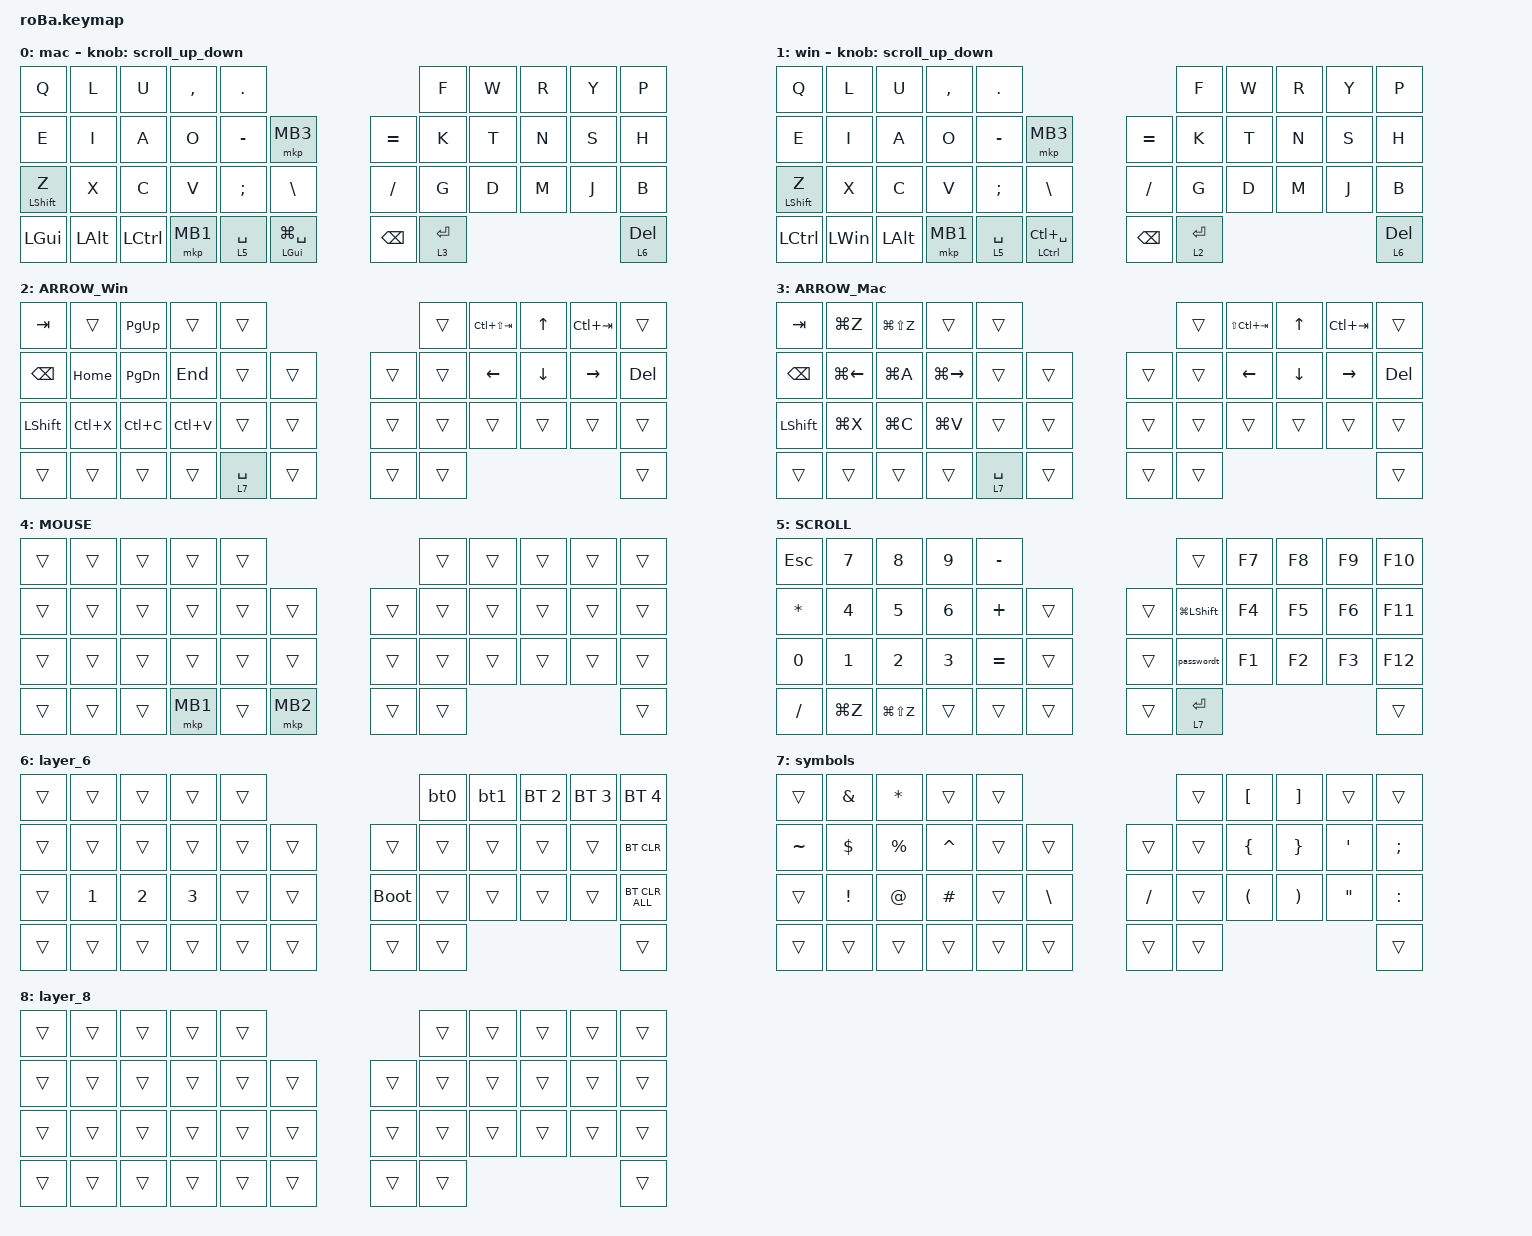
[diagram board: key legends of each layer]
#include <behaviors.dtsi>
#include <dt-bindings/zmk/bt.h>
#include <dt-bindings/zmk/keys.h>
#include <dt-bindings/zmk/pointing.h>

#define MOUSE 4
#define SCROLL 5
#define NUM 6
#define ZMK_POINTING_DEFAULT_SCRL_VAL 100

&mt {
    flavor = "balanced";
    quick-tap-ms = <0>;
};

/ {
    combos {
        compatible = "zmk,combos";

        tab {
            bindings = <&kp TAB>;
            key-positions = <11 12>;
        };

        shift_tab {
            bindings = <&kp LS(TAB)>;
            key-positions = <12 13>;
        };

        muhennkann {
            bindings = <&bt0 INT_MUHENKAN>;
            key-positions = <11 10>;
        };

        double_quotation {
            bindings = <&kp DOUBLE_QUOTES>;
            key-positions = <20 21>;
        };

        eq {
            bindings = <&kp EQUAL>;
            key-positions = <24 25>;
        };
    };

    macros {
        bt0: to_layer_0 {
            compatible = "zmk,behavior-macro";
            #binding-cells = <0>;
            bindings =
                <&tog_off 1 &tog_off 0>,
                <&macro_wait_time 200>,
                <&bt BT_SEL 0>,
                <&macro_wait_time 500>;

            label = "TO_LAYER_0";
        };

        bt1: new_macro {
            compatible = "zmk,behavior-macro";
            #binding-cells = <0>;
            bindings =
                <&tog_off 1 &tog_off 0>,
                <&macro_wait_time 200>,
                <&bt BT_SEL 1>,
                <&macro_wait_time 500>,
                <&tog_on 1>;

            label = "NEW_MACRO";
        };

        passwordt: passwordt {
            compatible = "zmk,behavior-macro";
            #binding-cells = <0>;
            bindings = <&kp EXCLAMATION &kp LS(K) &kp U &kp R &kp A &kp I &kp T &kp O &kp NUMBER_0 &kp NUMBER_2 &kp NUMBER_0 &kp NUMBER_3 &kp NUMBER_2 &kp NUMBER_3 &kp EXCLAMATION>;
            label = "PASSWORDT";
        };
    };

    behaviors {
        lt_to_layer_0: lt_to_layer_0 {
            compatible = "zmk,behavior-hold-tap";
            label = "LAYER_TAP_TO_0";
            bindings = <&mo>, <&bt0>;

            #binding-cells = <2>;
            tapping-term-ms = <200>;
        };

        tog_on: toggle_layer_on_only {
            compatible = "zmk,behavior-toggle-layer";
            #binding-cells = <1>;
            display-name = "Toggle Layer On";
            toggle-mode = "on";
        };

        tog_off: toggle_layer_off_only {
            compatible = "zmk,behavior-toggle-layer";
            #binding-cells = <1>;
            display-name = "Toggle Layer Off";
            toggle-mode = "off";
        };

        scroll_up_down: behavior_sensor_rotate_mouse_wheel_up_down {
            compatible = "zmk,behavior-sensor-rotate";
            #sensor-binding-cells = <0>;
            bindings = <&msc SCRL_DOWN>, <&msc SCRL_UP>;

            tap-ms = <20>;
        };
    };

    keymap {
        compatible = "zmk,keymap";

        mac {
            bindings = <
&kp Q             &kp L         &kp U      &kp COMMA  &kp PERIOD                                                &kp F        &kp W  &kp R  &kp Y  &kp P
&kp E             &kp I         &kp A      &kp O      &kp MINUS      &mkp MB3                    &kp EQUAL      &kp K        &kp T  &kp N  &kp S  &kp H
&mt LEFT_SHIFT Z  &kp X         &kp C      &kp V      &kp SEMICOLON  &kp BACKSLASH               &kp SLASH      &kp G        &kp D  &kp M  &kp J  &kp B
&kp LEFT_GUI      &kp LEFT_ALT  &kp LCTRL  &mkp MB1   &lt 5 SPACE    &mt LEFT_GUI LG(SPACE)      &kp BACKSPACE  &lt 3 ENTER                       &lt 6 DEL
            >;

            sensor-bindings = <&scroll_up_down>;
        };

        win {
            bindings = <
&kp Q             &kp L         &kp U         &kp COMMA  &kp PERIOD                                                    &kp F        &kp W  &kp R  &kp Y  &kp P
&kp E             &kp I         &kp A         &kp O      &kp MINUS      &mkp MB3                        &kp EQUAL      &kp K        &kp T  &kp N  &kp S  &kp H
&mt LEFT_SHIFT Z  &kp X         &kp C         &kp V      &kp SEMICOLON  &kp BACKSLASH                   &kp SLASH      &kp G        &kp D  &kp M  &kp J  &kp B
&kp LCTRL         &kp LEFT_WIN  &kp LEFT_ALT  &mkp MB1   &lt 5 SPACE    &mt LEFT_CONTROL LC(SPACE)      &kp BACKSPACE  &lt 2 ENTER                       &lt 6 DEL
            >;

            sensor-bindings = <&scroll_up_down>;
        };

        ARROW_Win {
            bindings = <
&kp TAB         &trans     &kp PG_UP      &trans     &trans                           &trans  &kp LC(LS(TAB))  &kp UP_ARROW    &kp LC(TAB)  &trans
&kp BACKSPACE   &kp HOME   &kp PAGE_DOWN  &kp END    &trans       &trans      &trans  &trans  &kp LEFT_ARROW   &kp DOWN_ARROW  &kp RIGHT    &kp DELETE
&kp LEFT_SHIFT  &kp LC(X)  &kp LC(C)      &kp LC(V)  &trans       &trans      &trans  &trans  &trans           &trans          &trans       &trans
&trans          &trans     &trans         &trans     &lt 7 SPACE  &trans      &trans  &trans                                                &trans
            >;
        };

        ARROW_Mac {
            bindings = <
&kp TAB         &kp LG(Z)           &kp LG(LS(Z))  &trans               &trans                           &trans  &kp LS(LC(TAB))  &kp UP_ARROW    &kp LC(TAB)      &trans
&kp BACKSPACE   &kp LG(LEFT_ARROW)  &kp LG(A)      &kp LG(RIGHT_ARROW)  &trans       &trans      &trans  &trans  &kp LEFT         &kp DOWN_ARROW  &kp RIGHT_ARROW  &kp DELETE
&kp LEFT_SHIFT  &kp LG(X)           &kp LG(C)      &kp LG(V)            &trans       &trans      &trans  &trans  &trans           &trans          &trans           &trans
&trans          &trans              &trans         &trans               &lt 7 SPACE  &trans      &trans  &trans                                                    &trans
            >;
        };

        MOUSE {
            bindings = <
&trans  &trans  &trans  &trans    &trans                        &trans  &trans  &trans  &trans  &trans
&trans  &trans  &trans  &trans    &trans  &trans        &trans  &trans  &trans  &trans  &trans  &trans
&trans  &trans  &trans  &trans    &trans  &trans        &trans  &trans  &trans  &trans  &trans  &trans
&trans  &trans  &trans  &mkp MB1  &trans  &mkp MB2      &trans  &trans                          &trans
            >;
        };

        SCROLL {
            bindings = <
&kp ESCAPE    &kp NUMBER_7  &kp NUMBER_8   &kp NUMBER_9  &kp MINUS                      &trans              &kp F7  &kp F8  &kp F9  &kp F10
&kp ASTERISK  &kp NUMBER_4  &kp NUMBER_5   &kp NUMBER_6  &kp PLUS   &trans      &trans  &kp LG(LEFT_SHIFT)  &kp F4  &kp F5  &kp F6  &kp F11
&kp NUMBER_0  &kp NUMBER_1  &kp NUMBER_2   &kp NUMBER_3  &kp EQUAL  &trans      &trans  &passwordt          &kp F1  &kp F2  &kp F3  &kp F12
&kp SLASH     &kp LG(Z)     &kp LG(LS(Z))  &trans        &trans     &trans      &trans  &lt 7 ENTER                                 &trans
            >;
        };

        layer_6 {
            bindings = <
&trans  &trans        &trans        &trans        &trans                           &bt0    &bt1    &bt BT_SEL 2  &bt BT_SEL 3  &bt BT_SEL 4
&trans  &trans        &trans        &trans        &trans  &trans      &trans       &trans  &trans  &trans        &trans        &bt BT_CLR
&trans  &kp NUMBER_1  &kp NUMBER_2  &kp NUMBER_3  &trans  &trans      &bootloader  &trans  &trans  &trans        &trans        &bt BT_CLR_ALL
&trans  &trans        &trans        &trans        &trans  &trans      &trans       &trans                                      &trans
            >;
        };

        symbols {
            bindings = <
&trans     &kp AMPERSAND    &kp ASTERISK  &trans     &trans                                &trans  &kp LEFT_BRACKET      &kp RIGHT_BRACKET      &trans             &trans
&kp TILDE  &kp DOLLAR       &kp PERCENT   &kp CARET  &trans  &trans             &trans     &trans  &kp LEFT_BRACE        &kp RIGHT_BRACE        &kp SQT            &kp SEMICOLON
&trans     &kp EXCLAMATION  &kp AT_SIGN   &kp HASH   &trans  &kp BACKSLASH      &kp SLASH  &trans  &kp LEFT_PARENTHESIS  &kp RIGHT_PARENTHESIS  &kp DOUBLE_QUOTES  &kp COLON
&trans     &trans           &trans        &trans     &trans  &trans             &trans     &trans                                                                  &trans
            >;
        };

        layer_8 {
            bindings = <
&trans  &trans  &trans  &trans  &trans                      &trans  &trans  &trans  &trans  &trans
&trans  &trans  &trans  &trans  &trans  &trans      &trans  &trans  &trans  &trans  &trans  &trans
&trans  &trans  &trans  &trans  &trans  &trans      &trans  &trans  &trans  &trans  &trans  &trans
&trans  &trans  &trans  &trans  &trans  &trans      &trans  &trans                          &trans
            >;
        };
    };
};
